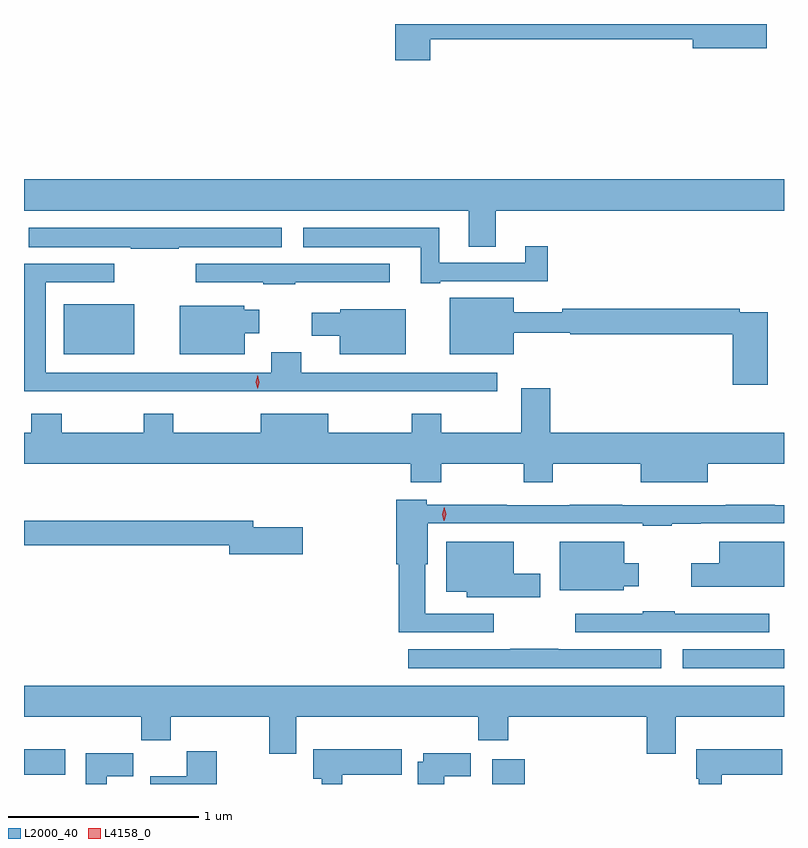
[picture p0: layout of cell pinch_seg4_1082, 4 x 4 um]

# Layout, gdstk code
import gdstk
lib = gdstk.Library(unit=1e-6, precision=1e-09)
def R(c, l, rs):  # rectangles x0, y0, x1, y1
    for r in rs: c.add(gdstk.rectangle(r[:2], r[2:], *l))
def P(c, l, *ps):  # polygons
    for p in ps: c.add(gdstk.Polygon(p, *l))
L2000_40 = (2000, 40)
L4158_0 = (4158, 0)

pinch_seg4_1082 = lib.new_cell('pinch_seg4_1082')
R(pinch_seg4_1082, L2000_40, [(530.366,827.102,530.537,827.233), (527.901,827.15,528.118,827.284), (531.369,827.711,531.901,827.812), (528.11,829.364,528.481,829.627)])
P(pinch_seg4_1082, L2000_40, [(530.039,831.022),(531.422,831.022),(531.422,830.975),(531.811,830.975),(531.811,831.102),(529.856,831.102),(529.856,830.91),(530.039,830.91)],
  [(530.383,830.12),(531.901,830.12),(531.901,830.284),(527.901,830.284),(527.901,830.12),(530.243,830.12),(530.243,829.93),(530.383,829.93)],
  [(530.092,829.749),(530.657,829.749),(530.657,829.933),(530.54,829.933),(530.54,829.845),(530.086,829.845),(530.086,830.029),(529.371,830.029),(529.371,829.928),(529.988,829.928),(529.988,829.737),(530.092,829.737)],
  [(528.716,829.928),(529.258,829.928),(529.258,830.029),(527.925,830.029),(527.925,829.928),(528.463,829.928),(528.463,829.918),(528.716,829.918)],
  [(529.328,829.742),(529.825,829.742),(529.825,829.839),(528.804,829.839),(528.804,829.743),(529.159,829.743),(529.159,829.731),(529.328,829.731)],
  [(528.443,829.17),(528.775,829.17),(528.775,829.169),(529.106,829.169),(529.106,829.17),(529.597,829.17),(529.597,829.169),(529.853,829.169),(529.853,829.17),(530.392,829.17),(530.392,829.266),(529.36,829.266),(529.36,829.375),(529.202,829.375),(529.202,829.266),(528.015,829.266),(528.015,829.743),(528.376,829.743),(528.376,829.839),(527.901,829.839),(527.901,829.17),(528.187,829.17),(528.187,829.169),(528.443,829.169)],
  [(531.815,829.584),(531.668,829.584),(531.668,829.604),(530.734,829.604),(530.734,829.585),(530.479,829.585),(530.479,829.66),(530.141,829.66),(530.141,829.364),(530.479,829.364),(530.479,829.476),(530.775,829.476),(530.775,829.468),(531.632,829.468),(531.632,829.203),(531.815,829.203)],
  [(529.063,829.475),(529.138,829.475),(529.138,829.597),(529.059,829.597),(529.059,829.618),(528.722,829.618),(528.722,829.364),(529.063,829.364)],
  [(529.909,829.6),(529.566,829.6),(529.566,829.582),(529.416,829.582),(529.416,829.46),(529.562,829.46),(529.562,829.364),(529.909,829.364)],
  [(530.097,828.788),(530.53,828.788),(530.53,828.689),(530.685,828.689),(530.685,828.788),(531.146,828.788),(531.146,828.689),(531.499,828.689),(531.499,828.788),(531.901,828.788),(531.901,828.952),(530.672,828.952),(530.672,829.186),(530.519,829.186),(530.519,828.952),(530.097,828.952),(530.097,829.051),(529.942,829.051),(529.942,828.952),(529.501,828.952),(529.501,829.051),(529.148,829.051),(529.148,828.952),(528.687,828.952),(528.687,829.051),(528.532,829.051),(528.532,828.952),(528.099,828.952),(528.099,829.051),(527.939,829.051),(527.939,828.952),(527.901,828.952),(527.901,828.788),(529.937,828.788),(529.937,828.689),(530.097,828.689)],
  [(530.374,827.997),(530.014,827.997),(530.014,828.258),(530.026,828.258),(530.026,828.474),(531.157,828.474),(531.157,828.462),(531.311,828.462),(531.311,828.473),(531.464,828.473),(531.464,828.474),(531.901,828.474),(531.901,828.57),(531.851,828.57),(531.851,828.572),(531.595,828.572),(531.595,828.57),(531.05,828.57),(531.05,828.572),(530.773,828.572),(530.773,828.57),(530.441,828.57),(530.441,828.572),(530.022,828.572),(530.022,828.598),(529.861,828.598),(529.861,828.258),(529.874,828.258),(529.874,827.901),(530.374,827.901)],
  [(529.369,828.453),(529.108,828.453),(529.108,828.487),(527.901,828.487),(527.901,828.358),(528.98,828.358),(528.98,828.311),(529.369,828.311)],
  [(531.901,828.376),(531.56,828.376),(531.56,828.265),(531.414,828.265),(531.414,828.14),(531.901,828.14)],
  [(531.057,828.143),(531.136,828.143),(531.136,828.265),(531.061,828.265),(531.061,828.376),(530.72,828.376),(530.72,828.122),(531.057,828.122)],
  [(530.617,828.208),(530.479,828.208),(530.479,828.376),(530.123,828.376),(530.123,828.113),(530.232,828.113),(530.232,828.086),(530.617,828.086)],
  [(531.823,827.998),(531.326,827.998),(531.326,828.01),(531.157,828.01),(531.157,827.997),(530.802,827.997),(530.802,827.901),(531.823,827.901)],
  [(531.256,827.812),(530.714,827.812),(530.714,827.815),(530.461,827.815),(530.461,827.812),(529.923,827.812),(529.923,827.711),(531.256,827.711)],
  [(529.333,827.456),(530.293,827.456),(530.293,827.332),(530.45,827.332),(530.45,827.456),(531.179,827.456),(531.179,827.262),(531.331,827.262),(531.331,827.456),(531.901,827.456),(531.901,827.62),(527.901,827.62),(527.901,827.456),(528.517,827.456),(528.517,827.332),(528.674,827.332),(528.674,827.456),(529.193,827.456),(529.193,827.262),(529.333,827.262)],
  [(531.574,827.15),(531.892,827.15),(531.892,827.284),(531.44,827.284),(531.44,827.13),(531.452,827.13),(531.452,827.102),(531.574,827.102)],
  [(529.576,827.15),(529.888,827.15),(529.888,827.284),(529.424,827.284),(529.424,827.13),(529.469,827.13),(529.469,827.102),(529.576,827.102)],
  [(528.916,827.275),(528.758,827.275),(528.758,827.143),(528.566,827.143),(528.566,827.102),(528.916,827.102)],
  [(528.337,827.144),(528.476,827.144),(528.476,827.263),(528.227,827.263),(528.227,827.102),(528.337,827.102)],
  [(530.113,827.144),(530.252,827.144),(530.252,827.263),(530.003,827.263),(530.003,827.218),(529.973,827.218),(529.973,827.102),(530.113,827.102)])
P(pinch_seg4_1082, L4158_0, [(530.111,828.487),(530.111,828.487),(530.103,828.523),(530.114,828.558),(530.114,828.558),(530.114,828.558),(530.123,828.522),(530.112,828.487)],
  [(529.13,829.181),(529.13,829.181),(529.12,829.217),(529.13,829.253),(529.13,829.253),(529.13,829.253),(529.14,829.217),(529.13,829.181)])

lib.write_gds('pinch_seg4_1082.gds')
